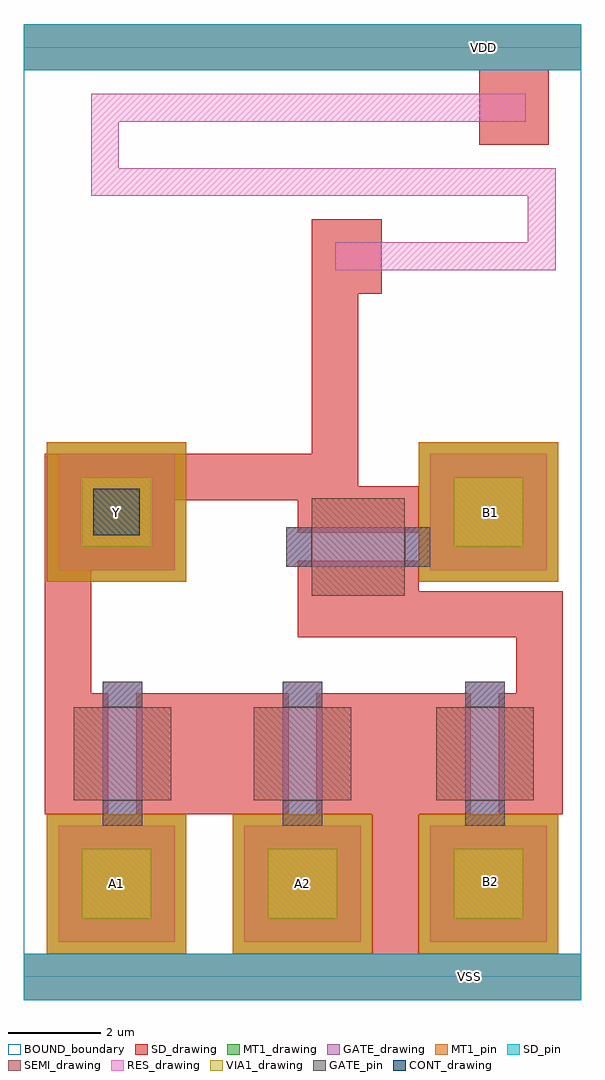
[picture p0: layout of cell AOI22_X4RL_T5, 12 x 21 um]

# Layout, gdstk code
from math import pi, radians
import gdstk
lib = gdstk.Library(unit=1e-6, precision=1e-09)
def R(c, l, rs):  # rectangles x0, y0, x1, y1
    for r in rs: c.add(gdstk.rectangle(r[:2], r[2:], *l))
def A(c, l, x, y, w, h, nx, ny, dx, dy):  # array of equal rectangles
    R(c, l, [(x+i*dx, y+j*dy, x+i*dx+w, y+j*dy+h) for i in range(nx) for j in range(ny)])
def P(c, l, *ps):  # polygons
    for p in ps: c.add(gdstk.Polygon(p, *l))
RES_drawing = (1, 0)
SEMI_drawing = (3, 0)
SD_drawing = (10, 0)
SD_pin = (10, 3)
GATE_drawing = (11, 0)
GATE_pin = (11, 3)
MT1_drawing = (20, 0)
MT1_pin = (20, 3)
CONT_drawing = (30, 0)
VIA1_drawing = (41, 0)
BOUND_boundary = (150, 5)

nch_cdns_772544884420 = lib.new_cell('nch_CDNS_772544884420')
R(nch_cdns_772544884420, SEMI_drawing, [(-1.05,-1,1.05,1)])
R(nch_cdns_772544884420, SD_drawing, [(-1.3,-1.3,-0.3,1.3), (0.3,-1.3,1.3,1.3)])
R(nch_cdns_772544884420, GATE_drawing, [(-0.425,-1.55,0.425,1.55)])
R(nch_cdns_772544884420, GATE_pin, [(-0.425,-1.55,0.425,-1), (-0.425,1,0.425,1.55)])

gate_mt1_cdns_7725448844 = lib.new_cell('GATE_MT1_CDNS_772544884420')
R(gate_mt1_cdns_7725448844, GATE_drawing, [(-1.25,-1.25,1.25,1.25)])
R(gate_mt1_cdns_7725448844, MT1_drawing, [(-1.25,-1.25,1.25,1.25)])
R(gate_mt1_cdns_7725448844, VIA1_drawing, [(-0.75,-0.75,0.75,0.75)])

sd_gate_cdns_77254488442 = lib.new_cell('SD_GATE_CDNS_772544884421')
R(sd_gate_cdns_77254488442, SD_drawing, [(-1,-1,1,1)])
R(sd_gate_cdns_77254488442, GATE_drawing, [(-1,-1,1,1)])
R(sd_gate_cdns_77254488442, CONT_drawing, [(-0.5,-0.5,0.5,0.5)])

aoi22_x4rl_t5 = lib.new_cell('AOI22_X4RL_T5')
R(aoi22_x4rl_t5, SD_drawing, [(3.175,3.5,4.7,6.1), (0.75,8.75,3.25,11.25), (6.2,14.7,7.7,16.3), (9.8,17.9,11.3,19.5)])
P(aoi22_x4rl_t5, SD_drawing, [(8.675,6.1),(7.3,6.1),(7.3,3.5),(7.5,3.5),(7.5,0.5),(8.5,0.5),(8.5,3.5),(8.675,3.5)])
R(aoi22_x4rl_t5, SD_pin, [(0,-0.5,12,0.5), (0,19.5,12,20.5)])
P(aoi22_x4rl_t5, GATE_drawing, [(8.85,8.75),(8.85,9.725),(8.75,9.725),(8.75,9.625),(8.7,9.625),(8.7,8.875),(8.75,8.875),(8.75,8.75)],
  [(9.45,3.15),(10.45,3.15),(10.45,3.25),(10.3,3.25),(10.3,3.3),(9.55,3.3),(9.55,3.25),(9.45,3.25)],
  [(1.6,3.15),(2.6,3.15),(2.6,3.25),(2.5,3.25),(2.5,3.3),(1.75,3.3),(1.75,3.25),(1.6,3.25)],
  [(5.475,3.15),(6.475,3.15),(6.475,3.25),(6.375,3.25),(6.375,3.3),(5.625,3.3),(5.625,3.25),(5.475,3.25)])
A(aoi22_x4rl_t5, MT1_drawing, 0.5, 0.5, 3, 3, 3, 1, 4, 0)
R(aoi22_x4rl_t5, MT1_drawing, [(8.75,0.75,11.25,3.25), (0.5,8.5,3.5,11.5), (8.5,8.5,11.5,11.5), (8.75,8.75,11.25,11.25)])
A(aoi22_x4rl_t5, MT1_pin, 0.5, 0.5, 3, 3, 3, 1, 4, 0)
R(aoi22_x4rl_t5, MT1_pin, [(0.5,8.5,3.5,11.5), (8.5,8.5,11.5,11.5)])
R(aoi22_x4rl_t5, BOUND_boundary, [(0,0,12,20)])
aoi22_x4rl_t5.add(gdstk.FlexPath([(6.7,10.75),(6.85,10.75)], 1, ends=(0.5, 0), simple_path=True, layer=10, datatype=0))  # SD_drawing
aoi22_x4rl_t5.add(gdstk.FlexPath([(6.7,10.75),(6.7,14.7)], 1, ends=(0.5, 0), simple_path=True, layer=10, datatype=0))  # SD_drawing
aoi22_x4rl_t5.add(gdstk.FlexPath([(5.9,7.8),(11.1,7.8)], 1, ends=(0, 0.5), simple_path=True, layer=10, datatype=0))  # SD_drawing
aoi22_x4rl_t5.add(gdstk.FlexPath([(0.95,10.75),(6.7,10.75)], 1, ends="extended", simple_path=True, layer=10, datatype=0))  # SD_drawing
aoi22_x4rl_t5.add(gdstk.FlexPath([(11.1,7.8),(11.1,3.5)], 1, ends=(0.5, 0), simple_path=True, layer=10, datatype=0))  # SD_drawing
aoi22_x4rl_t5.add(gdstk.FlexPath([(0.95,3.5),(0.95,10.75)], 1, ends=(0, 0.5), simple_path=True, layer=10, datatype=0))  # SD_drawing
aoi22_x4rl_t5.add(gdstk.FlexPath([(6.7,10.05),(6.7,10.75)], 1, ends="extended", simple_path=True, layer=10, datatype=0))  # SD_drawing
aoi22_x4rl_t5.add(gdstk.FlexPath([(0,20),(12,20)], 1, ends="flush", simple_path=True, layer=10, datatype=0))  # SD_drawing
aoi22_x4rl_t5.add(gdstk.FlexPath([(0,0),(12,0)], 1, ends="flush", simple_path=True, layer=10, datatype=0))  # SD_drawing
aoi22_x4rl_t5.add(gdstk.FlexPath([(9.25,10),(10,10)], 1, ends=(0.5, 0), simple_path=True, layer=11, datatype=0))  # GATE_drawing
aoi22_x4rl_t5.add(gdstk.FlexPath([(9.25,9.25),(9.25,10)], 1, ends="extended", simple_path=True, layer=11, datatype=0))  # GATE_drawing
aoi22_x4rl_t5.add(gdstk.FlexPath([(9.95,3.25),(9.95,2)], 1, ends="flush", simple_path=True, layer=11, datatype=0))  # GATE_drawing
aoi22_x4rl_t5.add(gdstk.FlexPath([(6,3.25),(6,2)], 1, ends="flush", simple_path=True, layer=11, datatype=0))  # GATE_drawing
aoi22_x4rl_t5.add(gdstk.FlexPath([(8.75,9.25),(9.25,9.25)], 1, ends=(0, 0.5), simple_path=True, layer=11, datatype=0))  # GATE_drawing
aoi22_x4rl_t5.add(gdstk.FlexPath([(2.05,1.95),(2.05,3.25)], 1, ends="flush", simple_path=True, layer=11, datatype=0))  # GATE_drawing
aoi22_x4rl_t5.add(gdstk.FlexPath([(10.8,18.7),(1.75,18.7),(1.75,17.1),(11.15,17.1),(11.15,15.5),(6.7,15.5)], 0.6, ends="flush", simple_path=True, layer=1, datatype=0))  # RES_drawing
aoi22_x4rl_t5.add(gdstk.Reference(nch_cdns_772544884420, (2.125,4.8)))
aoi22_x4rl_t5.add(gdstk.Reference(nch_cdns_772544884420, (7.2,9.25), rotation=3*pi/2, x_reflection=True))
aoi22_x4rl_t5.add(gdstk.Reference(nch_cdns_772544884420, (6,4.8), rotation=pi))
aoi22_x4rl_t5.add(gdstk.Reference(nch_cdns_772544884420, (9.925,4.8)))
aoi22_x4rl_t5.add(gdstk.Reference(gate_mt1_cdns_7725448844, (10,10)))
aoi22_x4rl_t5.add(gdstk.Reference(gate_mt1_cdns_7725448844, (10,2)))
aoi22_x4rl_t5.add(gdstk.Reference(gate_mt1_cdns_7725448844, (6,2)))
aoi22_x4rl_t5.add(gdstk.Reference(gate_mt1_cdns_7725448844, (2,2)))
aoi22_x4rl_t5.add(gdstk.Reference(gate_mt1_cdns_7725448844, (2,10)))
aoi22_x4rl_t5.add(gdstk.Reference(sd_gate_cdns_77254488442, (2,10)))
aoi22_x4rl_t5.add(gdstk.Label('B1', (10.05,10), layer=20, texttype=3))
aoi22_x4rl_t5.add(gdstk.Label('B2', (10.05,2.05), layer=20, texttype=3))
aoi22_x4rl_t5.add(gdstk.Label('A2', (6,2), layer=20, texttype=3))
aoi22_x4rl_t5.add(gdstk.Label('A1', (2,2), layer=20, texttype=3))
aoi22_x4rl_t5.add(gdstk.Label('Y', (2,10), layer=20, texttype=3))
aoi22_x4rl_t5.add(gdstk.Label('VSS', (9.6,0), layer=10, texttype=3))
aoi22_x4rl_t5.add(gdstk.Label('VDD', (9.9,20), layer=10, texttype=3))

lib.write_gds('AOI22_X4RL_T5.gds')
